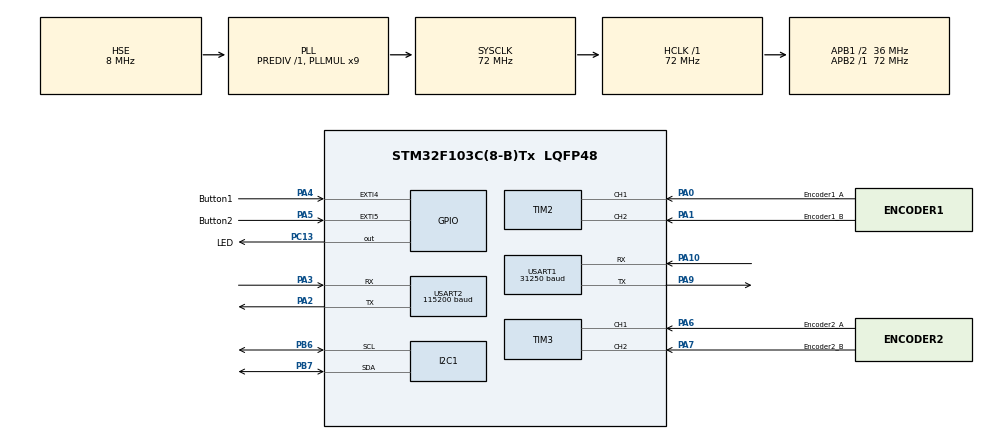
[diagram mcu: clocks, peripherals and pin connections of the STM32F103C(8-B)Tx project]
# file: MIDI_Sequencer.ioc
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Mcu.Family=STM32F1
Mcu.Name=STM32F103C(8-B)Tx
Mcu.Package=LQFP48
NVIC.EXTI4_IRQn=true\:0\:0\:true\:false\:true\:true\:true\:true
NVIC.EXTI9_5_IRQn=true\:0\:0\:true\:false\:true\:true\:true\:true
NVIC.PriorityGroup=NVIC_PRIORITYGROUP_4
NVIC.TIM4_IRQn=true\:0\:0\:true\:false\:true\:true\:true\:true
NVIC.USART2_IRQn=true\:0\:0\:true\:false\:true\:true\:true\:true
PA0-WKUP.GPIO_Label=Encoder1_A
PA0-WKUP.GPIO_PuPd=GPIO_PULLUP
PA0-WKUP.Signal=S_TIM2_CH1_ETR
PA1.GPIO_Label=Encoder1_B
PA1.GPIO_PuPd=GPIO_PULLUP
PA1.Signal=S_TIM2_CH2
PA10.Mode=Asynchronous
PA10.Signal=USART1_RX
PA13.Mode=Serial_Wire
PA13.Signal=SYS_JTMS-SWDIO
PA14.Mode=Serial_Wire
PA14.Signal=SYS_JTCK-SWCLK
PA2.Mode=Asynchronous
PA2.Signal=USART2_TX
PA3.Mode=Asynchronous
PA3.Signal=USART2_RX
PA4.GPIO_Label=Button1
PA4.GPIO_ModeDefaultEXTI=GPIO_MODE_IT_RISING_FALLING
PA4.GPIO_PuPd=GPIO_PULLUP
PA4.Signal=GPXTI4
PA5.GPIO_Label=Button2
PA5.GPIO_ModeDefaultEXTI=GPIO_MODE_IT_RISING_FALLING
PA5.GPIO_PuPd=GPIO_PULLUP
PA5.Signal=GPXTI5
PA6.GPIO_Label=Encoder2_A
PA6.GPIO_PuPd=GPIO_PULLUP
PA6.Signal=S_TIM3_CH1
PA7.GPIO_Label=Encoder2_B
PA7.GPIO_PuPd=GPIO_PULLUP
PA7.Signal=S_TIM3_CH2
PA9.Mode=Asynchronous
PA9.Signal=USART1_TX
PB6.Mode=I2C
PB6.Signal=I2C1_SCL
PB7.Mode=I2C
PB7.Signal=I2C1_SDA
PC13-TAMPER-RTC.GPIO_Label=LED
PC13-TAMPER-RTC.PinState=GPIO_PIN_SET
PC13-TAMPER-RTC.Signal=GPIO_Output
PD0-OSC_IN.Mode=HSE-External-Oscillator
PD0-OSC_IN.Signal=RCC_OSC_IN
PD1-OSC_OUT.Mode=HSE-External-Oscillator
PD1-OSC_OUT.Signal=RCC_OSC_OUT
ProjectManager.HeapSize=0x200
ProjectManager.StackSize=0x400
ProjectManager.TargetToolchain=STM32CubeIDE
RCC.AHBFreq_Value=72000000
RCC.APB1CLKDivider=RCC_HCLK_DIV2
RCC.APB1Freq_Value=36000000
RCC.APB1TimFreq_Value=72000000
RCC.APB2Freq_Value=72000000
RCC.APB2TimFreq_Value=72000000
RCC.HCLKFreq_Value=72000000
RCC.PLLMUL=RCC_PLL_MUL9
RCC.PLLSourceVirtual=RCC_PLLSOURCE_HSE
RCC.SYSCLKFreq_VALUE=72000000
RCC.SYSCLKSource=RCC_SYSCLKSOURCE_PLLCLK
RCC.USBFreq_Value=72000000
SH.S_TIM2_CH1_ETR.0=TIM2_CH1,Encoder_Interface
SH.S_TIM2_CH2.0=TIM2_CH2,Encoder_Interface
SH.S_TIM3_CH1.0=TIM3_CH1,Encoder_Interface
SH.S_TIM3_CH2.0=TIM3_CH2,Encoder_Interface
TIM2.EncoderMode=TIM_ENCODERMODE_TI12
TIM2.IC1Filter=4
TIM2.IC1Polarity=TIM_ICPOLARITY_FALLING
TIM2.IC2Filter=4
TIM2.IC2Polarity=TIM_ICPOLARITY_FALLING
TIM3.EncoderMode=TIM_ENCODERMODE_TI12
TIM3.IC1Filter=4
TIM3.IC1Polarity=TIM_ICPOLARITY_FALLING
TIM3.IC2Filter=4
TIM3.IC2Polarity=TIM_ICPOLARITY_FALLING
TIM4.Period=1000 - 1
TIM4.Prescaler=36000 - 1
USART1.BaudRate=31250
USART1.VirtualMode=VM_ASYNC
USART2.BaudRate=115200
USART2.VirtualMode=VM_ASYNC
VP_TIM4_VS_OPM.Mode=OPM_bit
board=custom

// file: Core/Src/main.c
/* USER CODE BEGIN Header */
/**
  ******************************************************************************
  * @file           : main.c
  * @brief          : Main program body
  ******************************************************************************
  * @attention
  *
  * Copyright (c) 2026 STMicroelectronics.
  * All rights reserved.
  *
  * This software is licensed under terms that can be found in the LICENSE file
  * in the root directory of this software component.
  * If no LICENSE file comes with this software, it is provided AS-IS.
  *
  ******************************************************************************
  */
/* USER CODE END Header */
#include "main.h"

/* USER CODE BEGIN Includes */
#include <stdio.h>
#include <stdlib.h>
#include "display.h"
#include "scheduler.h"
#include "tasks.h"
#include "midi.h"
#include "ui.h"
#include "notes.h"
#include "modes.h"

/* USER CODE END Includes */

/* USER CODE BEGIN PD */
/* constants for OLED display */
#define FIRST_DISPLAY_LINE	1u
#define LAST_DISPLAY_LINE	6u

/* constant for MIDI "clock" realtime message */
#define MIDI_CLOCK	0xF8

/* USER CODE END PD */

I2C_HandleTypeDef hi2c1;

TIM_HandleTypeDef htim2;
TIM_HandleTypeDef htim3;
TIM_HandleTypeDef htim4;

UART_HandleTypeDef huart1;
UART_HandleTypeDef huart2;

/* USER CODE BEGIN PV */
volatile uint32_t ms_counter = 0;
//volatile uint16_t tim4_counter = 0; /* use later for implementing synchronized tracks */

// C major scale starting from C2 (Middle C ... i.e. C4 ... = MIDI note 60)
//const uint8_t c_major_scale[] = {
//	36, // C2
//	38, // D2
//	40, // E2
//	41, // F2
//	43, // G2
//	45, // A2
//	47, // B2
//	48, // C3
//	50, // D3
//	52, // E3
//	53, // F3
//	55, // G3
//	57, // A3
//	59, // B3
//	60, // C4
//	62, // D4
//	64, // E4
//	65, // F4
//	67, // G4
//	69, // A4
//	71, // B4
//	72, // C5
//	74, // D5
//	76, // E5
//	77, // F5
//	79, // G5
//	81, // A5
//	83, // B5
//	84  // C6
//};

uint8_t midi_note_packet[3];
static uint8_t display_line_pointer = FIRST_DISPLAY_LINE;
uint8_t scale_notes[128] = {0}; /* dynamic selection list of notes for randomizer, built by build_scale in notes.c */
uint16_t scale_length = 0; /* dynamic length of selection list (size returned by build_scale) */

/* struct to keep track of notes that require note_off's */
typedef struct {
	uint16_t note;
	uint8_t  channel;
	uint32_t timestamp;
	bool     is_slot_active;
} active_note_t;

/* struct to store pre-composed/staged next note to be sent */
typedef struct {
	uint8_t notes[3];
	uint8_t channel;
	uint8_t velocity;
	uint8_t count;
	uint8_t rest_count;
} next_note_t;

/* convenient enum for chord triads */
typedef enum {
	ROOT,
	THIRD,
	FIFTH
} chord_notes_t;

/* convenient enum for Miracle Teaching Keyboard virtual instruments (per default channel) - https://en.wikipedia.org/wiki/Miracle_Piano_Teaching_System */
typedef enum {
	PIANO = 1,
	HARPSICHORD,
	ORGAN,
	VIBRAPHONE,
	ELECTRIC_PIANO,
	SYNTHESIZER
} miracle_keyboard_channels_t;

enum {
	REST_3_BEATS,
	REST_2_BEATS,
	REST_1_BEAT
};

next_note_t next_note = {0}; /* declare storage for next note structure */

/* declare storage FIFO for a display buffer to hold messages for ssd1306 OLED display */
#define MAX_DISPLAY_BUFFER 32
uint8_t display_buffer[MAX_DISPLAY_BUFFER][3];
volatile uint16_t headPointer = 0, tailPointer = 0; /* FIFO head and tail pointers */

/* declare storage array for "active" notes ... will be parsed for note_off generation at expiration */
#define MAX_ACTIVE_NOTES 128
static active_note_t active_notes[MAX_ACTIVE_NOTES] = {0};

/* look-up table for note-off durations based on virtual instrument/channel number (channels 0-8) ... channels 9-16 just default values */
int16_t channel_note_off_duration[16] = {0, 0, 0, 2500, 0, 0, 2500, 2000, 0, 200, 200, 200, 200, 200, 200, 200};

/* USER CODE END PV */

void SystemClock_Config(void);
static void MX_GPIO_Init(void);
static void MX_I2C1_Init(void);
static void MX_USART1_UART_Init(void);
static void MX_USART2_UART_Init(void);
static void MX_TIM2_Init(void);
static void MX_TIM3_Init(void);
static void MX_TIM4_Init(void);

/* USER CODE BEGIN 0 */

static void midiSend(uint8_t status, uint8_t note, uint8_t channel, uint8_t velocity)
{
    if (channel < 1 || channel > 16)
    	channel = 1;
    channel -= 1;
    midi_note_packet[0] = (status & 0xF0) | (channel & 0x0F);
    midi_note_packet[1] = note & 0x7F;
    midi_note_packet[2] = velocity & 0x7F;
    HAL_UART_Transmit(&huart1, midi_note_packet, sizeof(midi_note_packet), 100);
#if ENABLE_CONSOLE_RAW
    HAL_UART_Transmit(&huart2, midi_note_packet, sizeof(midi_note_packet), 100); /* write raw midi data to console for testing */
#endif
}

void midiSendNoteOn(uint8_t note, uint8_t channel, uint8_t velocity) {
    midiSend(0x90, note, channel, velocity);
}

void midiSendNoteOff(uint8_t note, uint8_t channel, uint8_t velocity) {
    midiSend(0x80, note, channel, velocity);
}

uint16_t randomize(uint16_t lower_value, uint16_t upper_value)
{
	return rand() % (upper_value - lower_value + 1) + lower_value;
}

void cacheMidiMessage(void)
{
	/* cache real-time MIDI messages here for display later (in main loop idle time) due to ssd1306 I2C OLED display sluggishness */
	display_buffer[headPointer][0] = midi_note_packet[0];
	display_buffer[headPointer][1] = midi_note_packet[1];
	display_buffer[headPointer][2] = midi_note_packet[2];
	headPointer++;
	if(headPointer >= MAX_DISPLAY_BUFFER) /* manage headPointer rollover (new arrivals will overwrite older) */
		headPointer = 0;
}

void displayMidiMessages(void)
{
	/* manage OLED display updates in main loop slack time */
	if(tailPointer != headPointer) /* if true, new data is available */
	{
#if ENABLE_CONSOLE_TEST
		const char crlf[] = {"\r\n"};
		char *temp;
		temp = midi_process_message(display_buffer[tailPointer][0], display_buffer[tailPointer][1], display_buffer[tailPointer][2]);
		uint8_t i;
		for(i = 0; i < 20; i++)
		{
			if(0 == temp[i])
				break;
		}
		HAL_UART_Transmit(&huart2, (uint8_t *)temp, i, 100); /* echo midi traffic to console for testing */
		HAL_UART_Transmit(&huart2, (uint8_t *)crlf, 2, 100);
#else
		display_string(midi_process_message(display_buffer[tailPointer][0], display_buffer[tailPointer][1], display_buffer[tailPointer][2]), display_line_pointer, 0, White, true);
#endif
		display_line_pointer++;
		if(display_line_pointer > LAST_DISPLAY_LINE)
			display_line_pointer = FIRST_DISPLAY_LINE;
#if !ENABLE_CONSOLE_TEST
		/* blank following line to visually indicate new message scrolling (only takes 2 ms) */
		ssd1306_FillRectangle(0, 9*(display_line_pointer + 1) + 2, SSD1306_WIDTH, 9*(display_line_pointer + 1) + 10, Black);
#endif
		tailPointer++; /* move display pointer */
		if(tailPointer >= MAX_DISPLAY_BUFFER) /* manage FIFO pointer rollover */
		  tailPointer = 0;
	}
}

/* USER CODE END 0 */

int main(void)
{

  /* MCU Configuration--------------------------------------------------------*/

  /* Reset of all peripherals, Initializes the Flash interface and the Systick. */
  HAL_Init();

  /* Configure the system clock */
  SystemClock_Config();

  /* Initialize all configured peripherals */
  MX_GPIO_Init();
  MX_I2C1_Init();
  MX_USART1_UART_Init();
  MX_USART2_UART_Init();
  MX_TIM2_Init();
  MX_TIM3_Init();
  MX_TIM4_Init();
  /* USER CODE BEGIN 2 */

  display_init();
  display_splash_screen();

  HAL_Delay(1000);

  /* initialize OLED display and paint opening UI screens */
  display_start_screen();

  // Start the encoder interfaces (TIM2 - encoder_1, TIM3 - encoder_2)
  HAL_TIM_Encoder_Start(&htim2, TIM_CHANNEL_ALL);
  HAL_TIM_Encoder_Start(&htim3, TIM_CHANNEL_ALL);

  __HAL_TIM_CLEAR_IT(&htim4, TIM_FLAG_UPDATE);

  scheduler_init();
  tasks_init(); /* scheduled tasks in tasks.c ... heartbeat, read_encoders, poll_buttons */

  /* initialize next_note */
  next_note.count = 0;
  next_note.channel = ui_settings.channel_low;
  next_note.notes[0] = scale_notes[0];
  next_note.notes[1] = scale_notes[0];
  next_note.notes[2] = scale_notes[0];

#if ENABLE_CONSOLE_DEBUG
  printf("UART started ....\r\n");
#endif

  srand(HAL_GetTick()); /* seed random number generator with system tick */

  HAL_TIM_Base_Start_IT(&htim4); /* TIM4 time base generation in interrupt mode */

  /* initialize note universe */
  scale_length = build_scale(ui_settings.key,
		  mode_intervals[ui_settings.mode],
		  mode_interval_count[ui_settings.mode],
		  ui_settings.octave_low,
		  ui_settings.octave_high,
		  scale_notes,
		  sizeof(scale_notes));

#if ENABLE_CONSOLE_DEBUG
  /* confirm note list (print to console) */
  printf("Number of notes = %d\r\n", scale_length);
  for(uint8_t i = 0; i < scale_length; i++)
  {
	  printf("%d, ", scale_notes[i]);
  }
  printf("\r\n");
#endif

  /* USER CODE END 2 */

  /* Infinite loop */
  /* USER CODE BEGIN WHILE */
  while (1)
  {
	  /* Note - sequencer engine/note generation takes place in HAL_TIM_PeriodElapsedCallback (TIM4 handle) */

	  /* look for note-off expiration(s) in active_notes array */
	  uint32_t current_tick = HAL_GetTick();
	  for(uint8_t i = 0; i < MAX_ACTIVE_NOTES; i++)
	  {
		  if(active_notes[i].is_slot_active)
		  {
			  if(current_tick - active_notes[i].timestamp > channel_note_off_duration[active_notes[i].channel])
			  {
				  __disable_irq(); /* make next 3 lines atomic */
//				  midiSendNoteOff(active_notes[i].note, active_notes[i].channel, 0);
				  midiSendNoteOn(active_notes[i].note, active_notes[i].channel, 0); /* note_on with 0 velocity is equivalent to note_off */
				  active_notes[i].is_slot_active = false;
				  cacheMidiMessage(); /* cache current message for later display */
				  __enable_irq();
			  }
		  }
	  }

	  displayMidiMessages(); /* update display in main loop slack/idle time */

    /* USER CODE END WHILE */

  }
}

void SystemClock_Config(void)
{
  RCC_OscInitTypeDef RCC_OscInitStruct = {0};
  RCC_ClkInitTypeDef RCC_ClkInitStruct = {0};

  /** Initializes the RCC Oscillators according to the specified parameters
  * in the RCC_OscInitTypeDef structure.
  */
  RCC_OscInitStruct.OscillatorType = RCC_OSCILLATORTYPE_HSE;
  RCC_OscInitStruct.HSEState = RCC_HSE_ON;
  RCC_OscInitStruct.HSEPredivValue = RCC_HSE_PREDIV_DIV1;
  RCC_OscInitStruct.HSIState = RCC_HSI_ON;
  RCC_OscInitStruct.PLL.PLLState = RCC_PLL_ON;
  RCC_OscInitStruct.PLL.PLLSource = RCC_PLLSOURCE_HSE;
  RCC_OscInitStruct.PLL.PLLMUL = RCC_PLL_MUL9;
  if (HAL_RCC_OscConfig(&RCC_OscInitStruct) != HAL_OK)
  {
    Error_Handler();
  }

  /** Initializes the CPU, AHB and APB buses clocks
  */
  RCC_ClkInitStruct.ClockType = RCC_CLOCKTYPE_HCLK|RCC_CLOCKTYPE_SYSCLK
                              |RCC_CLOCKTYPE_PCLK1|RCC_CLOCKTYPE_PCLK2;
  RCC_ClkInitStruct.SYSCLKSource = RCC_SYSCLKSOURCE_PLLCLK;
  RCC_ClkInitStruct.AHBCLKDivider = RCC_SYSCLK_DIV1;
  RCC_ClkInitStruct.APB1CLKDivider = RCC_HCLK_DIV2;
  RCC_ClkInitStruct.APB2CLKDivider = RCC_HCLK_DIV1;

  if (HAL_RCC_ClockConfig(&RCC_ClkInitStruct, FLASH_LATENCY_2) != HAL_OK)
  {
    Error_Handler();
  }
}

static void MX_I2C1_Init(void)
{

  hi2c1.Instance = I2C1;
  hi2c1.Init.ClockSpeed = 100000;
  hi2c1.Init.DutyCycle = I2C_DUTYCYCLE_2;
  hi2c1.Init.OwnAddress1 = 0;
  hi2c1.Init.AddressingMode = I2C_ADDRESSINGMODE_7BIT;
  hi2c1.Init.DualAddressMode = I2C_DUALADDRESS_DISABLE;
  hi2c1.Init.OwnAddress2 = 0;
  hi2c1.Init.GeneralCallMode = I2C_GENERALCALL_DISABLE;
  hi2c1.Init.NoStretchMode = I2C_NOSTRETCH_DISABLE;
  if (HAL_I2C_Init(&hi2c1) != HAL_OK)
  {
    Error_Handler();
  }

}

static void MX_TIM2_Init(void)
{

  TIM_Encoder_InitTypeDef sConfig = {0};
  TIM_MasterConfigTypeDef sMasterConfig = {0};

  htim2.Instance = TIM2;
  htim2.Init.Prescaler = 0;
  htim2.Init.CounterMode = TIM_COUNTERMODE_UP;
  htim2.Init.Period = 65535;
  htim2.Init.ClockDivision = TIM_CLOCKDIVISION_DIV1;
  htim2.Init.AutoReloadPreload = TIM_AUTORELOAD_PRELOAD_DISABLE;
  sConfig.EncoderMode = TIM_ENCODERMODE_TI12;
  sConfig.IC1Polarity = TIM_ICPOLARITY_FALLING;
  sConfig.IC1Selection = TIM_ICSELECTION_DIRECTTI;
  sConfig.IC1Prescaler = TIM_ICPSC_DIV1;
  sConfig.IC1Filter = 4;
  sConfig.IC2Polarity = TIM_ICPOLARITY_FALLING;
  sConfig.IC2Selection = TIM_ICSELECTION_DIRECTTI;
  sConfig.IC2Prescaler = TIM_ICPSC_DIV1;
  sConfig.IC2Filter = 4;
  if (HAL_TIM_Encoder_Init(&htim2, &sConfig) != HAL_OK)
  {
    Error_Handler();
  }
  sMasterConfig.MasterOutputTrigger = TIM_TRGO_RESET;
  sMasterConfig.MasterSlaveMode = TIM_MASTERSLAVEMODE_DISABLE;
  if (HAL_TIMEx_MasterConfigSynchronization(&htim2, &sMasterConfig) != HAL_OK)
  {
    Error_Handler();
  }

}

static void MX_TIM3_Init(void)
{

  TIM_Encoder_InitTypeDef sConfig = {0};
  TIM_MasterConfigTypeDef sMasterConfig = {0};

  htim3.Instance = TIM3;
  htim3.Init.Prescaler = 0;
  htim3.Init.CounterMode = TIM_COUNTERMODE_UP;
  htim3.Init.Period = 65535;
  htim3.Init.ClockDivision = TIM_CLOCKDIVISION_DIV1;
  htim3.Init.AutoReloadPreload = TIM_AUTORELOAD_PRELOAD_DISABLE;
  sConfig.EncoderMode = TIM_ENCODERMODE_TI12;
  sConfig.IC1Polarity = TIM_ICPOLARITY_FALLING;
  sConfig.IC1Selection = TIM_ICSELECTION_DIRECTTI;
  sConfig.IC1Prescaler = TIM_ICPSC_DIV1;
  sConfig.IC1Filter = 4;
  sConfig.IC2Polarity = TIM_ICPOLARITY_FALLING;
  sConfig.IC2Selection = TIM_ICSELECTION_DIRECTTI;
  sConfig.IC2Prescaler = TIM_ICPSC_DIV1;
  sConfig.IC2Filter = 4;
  if (HAL_TIM_Encoder_Init(&htim3, &sConfig) != HAL_OK)
  {
    Error_Handler();
  }
  sMasterConfig.MasterOutputTrigger = TIM_TRGO_RESET;
  sMasterConfig.MasterSlaveMode = TIM_MASTERSLAVEMODE_DISABLE;
  if (HAL_TIMEx_MasterConfigSynchronization(&htim3, &sMasterConfig) != HAL_OK)
  {
    Error_Handler();
  }

}

static void MX_TIM4_Init(void)
{

  TIM_MasterConfigTypeDef sMasterConfig = {0};

  htim4.Instance = TIM4;
  htim4.Init.Prescaler = 36000 - 1;
  htim4.Init.CounterMode = TIM_COUNTERMODE_UP;
  htim4.Init.Period = 1000 - 1;
  htim4.Init.ClockDivision = TIM_CLOCKDIVISION_DIV1;
  htim4.Init.AutoReloadPreload = TIM_AUTORELOAD_PRELOAD_DISABLE;
  if (HAL_TIM_OnePulse_Init(&htim4, TIM_OPMODE_SINGLE) != HAL_OK)
  {
    Error_Handler();
  }
  sMasterConfig.MasterOutputTrigger = TIM_TRGO_RESET;
  sMasterConfig.MasterSlaveMode = TIM_MASTERSLAVEMODE_DISABLE;
  if (HAL_TIMEx_MasterConfigSynchronization(&htim4, &sMasterConfig) != HAL_OK)
  {
    Error_Handler();
  }

}

static void MX_USART1_UART_Init(void)
{

  huart1.Instance = USART1;
  huart1.Init.BaudRate = 31250;
  huart1.Init.WordLength = UART_WORDLENGTH_8B;
  huart1.Init.StopBits = UART_STOPBITS_1;
  huart1.Init.Parity = UART_PARITY_NONE;
  huart1.Init.Mode = UART_MODE_TX_RX;
  huart1.Init.HwFlowCtl = UART_HWCONTROL_NONE;
  huart1.Init.OverSampling = UART_OVERSAMPLING_16;
  if (HAL_UART_Init(&huart1) != HAL_OK)
  {
    Error_Handler();
  }

}

static void MX_USART2_UART_Init(void)
{

  huart2.Instance = USART2;
  huart2.Init.BaudRate = 115200;
  huart2.Init.WordLength = UART_WORDLENGTH_8B;
  huart2.Init.StopBits = UART_STOPBITS_1;
  huart2.Init.Parity = UART_PARITY_NONE;
  huart2.Init.Mode = UART_MODE_TX_RX;
  huart2.Init.HwFlowCtl = UART_HWCONTROL_NONE;
  huart2.Init.OverSampling = UART_OVERSAMPLING_16;
  if (HAL_UART_Init(&huart2) != HAL_OK)
  {
    Error_Handler();
  }

}

static void MX_GPIO_Init(void)
{
  GPIO_InitTypeDef GPIO_InitStruct = {0};

  /* GPIO Ports Clock Enable */
  __HAL_RCC_GPIOC_CLK_ENABLE();
  __HAL_RCC_GPIOD_CLK_ENABLE();
  __HAL_RCC_GPIOA_CLK_ENABLE();
  __HAL_RCC_GPIOB_CLK_ENABLE();

  /*Configure GPIO pin Output Level */
  HAL_GPIO_WritePin(LED_GPIO_Port, LED_Pin, GPIO_PIN_SET);

  /*Configure GPIO pin : LED_Pin */
  GPIO_InitStruct.Pin = LED_Pin;
  GPIO_InitStruct.Mode = GPIO_MODE_OUTPUT_PP;
  GPIO_InitStruct.Pull = GPIO_NOPULL;
  GPIO_InitStruct.Speed = GPIO_SPEED_FREQ_LOW;
  HAL_GPIO_Init(LED_GPIO_Port, &GPIO_InitStruct);

  /*Configure GPIO pins : Button1_Pin Button2_Pin */
  GPIO_InitStruct.Pin = Button1_Pin|Button2_Pin;
  GPIO_InitStruct.Mode = GPIO_MODE_IT_RISING_FALLING;
  GPIO_InitStruct.Pull = GPIO_PULLUP;
  HAL_GPIO_Init(GPIOA, &GPIO_InitStruct);

  /* EXTI interrupt init*/
  HAL_NVIC_SetPriority(EXTI4_IRQn, 0, 0);
  HAL_NVIC_EnableIRQ(EXTI4_IRQn);

  HAL_NVIC_SetPriority(EXTI9_5_IRQn, 0, 0);
  HAL_NVIC_EnableIRQ(EXTI9_5_IRQn);

}

/* USER CODE BEGIN 4 */

void HAL_SYSTICK_Callback(void) {
    ms_counter++;
    run_scheduled_tasks();
}

int __io_putchar(int ch) {
    HAL_UART_Transmit(&huart2, (uint8_t *)&ch, 1, HAL_MAX_DELAY);
    return ch;
}

/**
  * TIM4 - time-out timer
  *
  * @brief  Period elapsed callback in non blocking mode
  * @param  htim : TIM handle
  * @retval None
  */
void HAL_TIM_PeriodElapsedCallback(TIM_HandleTypeDef *htim)
{
	static uint8_t previous_note = 0;
	uint16_t scale_index;
	uint32_t hal_timestamp;
	uint8_t midi_clock = MIDI_CLOCK;
	if(htim->Instance == TIM4)
	{
		HAL_TIM_Base_Stop_IT(htim);
		__HAL_TIM_SET_COUNTER(&htim4, 0);
		if(ui_settings.on_off)
		{
			HAL_TIM_Base_Start_IT(&htim4); /* restart timer to trigger next note */
			__HAL_TIM_SET_AUTORELOAD(&htim4, ui_settings.tempo_bpm);

			/* send MIDI Clock (0xF8) message every interrupt to keep downstream devices in sync */
			HAL_UART_Transmit(&huart1, &midi_clock, 1, 100);

			if(0 == next_note.rest_count--)
			{
				for(uint8_t i = 0; i < next_note.count; i++) /* send previously prepared/staged MIDI message(s) */
				{
					midiSendNoteOn(next_note.notes[i], next_note.channel, next_note.velocity);
					cacheMidiMessage(); /* OLED display is sluggish, cache messages and display later in main loop idle time */
				}

				hal_timestamp = HAL_GetTick(); /* record current time to evaluate note-off expirations */

				/* prepare/stage next note */
				while(previous_note == (next_note.notes[ROOT] = scale_notes[scale_index = randomize(0, scale_length - 1)]))
				  ; /* don't repeat same note back-to-back */
				previous_note = next_note.notes[ROOT]; /* save for next iteration */
				next_note.channel = randomize(ui_settings.channel_low, ui_settings.channel_high);
				next_note.count = 1;
				next_note.velocity = randomize(ui_settings.velocity_low, ui_settings.velocity_high);
				/* log note-off reminders */
				if(channel_note_off_duration[next_note.channel] != 0) /* log note if this channel has a note-off duration */
				{
				  /* look for open slot in active_notes array */
				  for(uint8_t i = 0; i < MAX_ACTIVE_NOTES; i++)
				  {
					  if(!active_notes[i].is_slot_active)
					  {
						  active_notes[i].note = next_note.notes[ROOT];
						  active_notes[i].channel = next_note.channel;
						  active_notes[i].timestamp = hal_timestamp;
						  active_notes[i].is_slot_active = true;
						  break;
					  }
				  }
				}
				/* build chord */
				if(ui_settings.chords) /* add notes to complete chord sequence (Triad only at this point ... i.e. 3-note chords only) */
				{
				  if(scale_index <= scale_length - 3) /* don't exceed note selection array length */
				  {
					  next_note.notes[THIRD] = scale_notes[scale_index + 2];
					  next_note.count++;
					  if(channel_note_off_duration[next_note.channel] != 0) /* log note if this channel has a note-off duration */
					  {
						  /* look for open slot in active_notes array */
						  for(uint8_t i = 0; i < MAX_ACTIVE_NOTES; i++)
						  {
							  if(!active_notes[i].is_slot_active)
							  {
								  active_notes[i].note = next_note.notes[THIRD];
								  active_notes[i].channel = next_note.channel;
								  active_notes[i].timestamp = hal_timestamp;
								  active_notes[i].is_slot_active = true;
								  break;
							  }
						  }
					  }
				  }
				  if(scale_index <= scale_length - 5) /* don't exceed note selection array length */
				  {
					  next_note.notes[FIFTH] = scale_notes[scale_index + 4];
					  next_note.count++;
					  if(channel_note_off_duration[next_note.channel] != 0) /* log note if this channel has a note-off duration */
					  {
						  /* look for open slot in active_notes array */
						  for(uint8_t i = 0; i < MAX_ACTIVE_NOTES; i++)
						  {
							  if(!active_notes[i].is_slot_active)
							  {
								  active_notes[i].note = next_note.notes[FIFTH];
								  active_notes[i].channel = next_note.channel;
								  active_notes[i].timestamp = hal_timestamp;
								  active_notes[i].is_slot_active = true;
								  break;
							  }
						  }
					  }
				  }
				}

				/* rest beats density weighting per rhythm_rest_values */
				next_note.rest_count = randomize(0, 99);
				if(next_note.rest_count < rhythm_rest_values[ui_settings.rhythm][REST_3_BEATS])
					next_note.rest_count = 3;
				else if(next_note.rest_count < rhythm_rest_values[ui_settings.rhythm][REST_2_BEATS])
					next_note.rest_count = 2;
				else if(next_note.rest_count < rhythm_rest_values[ui_settings.rhythm][REST_1_BEAT])
					next_note.rest_count = 1;
				else
					next_note.rest_count = 0;

			}
		}
	}
}

/* USER CODE END 4 */

void Error_Handler(void)
{
  __disable_irq();
  while (1)
  {
  }
}
